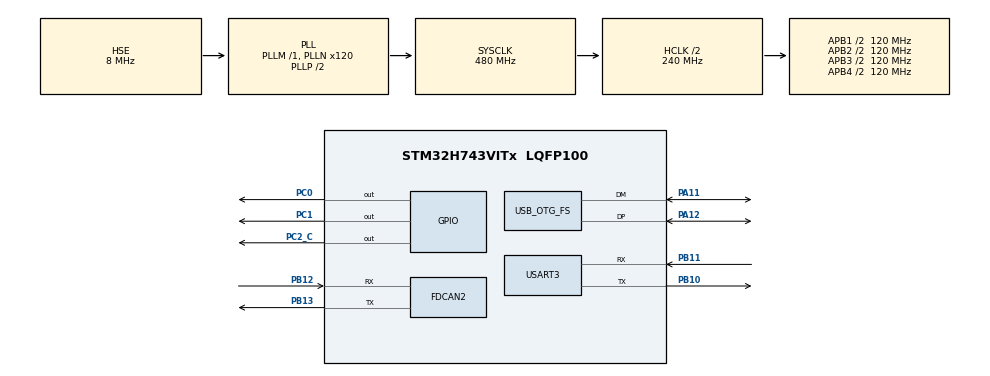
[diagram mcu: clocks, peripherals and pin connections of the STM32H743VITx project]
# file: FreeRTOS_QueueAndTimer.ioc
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FDCAN2.CalculateBaudRateNominal=800000
FDCAN2.CalculateTimeBitNominal=1250
FDCAN2.CalculateTimeQuantumNominal=250.0
Mcu.Family=STM32H7
Mcu.Name=STM32H743VITx
Mcu.Package=LQFP100
NVIC.FDCAN2_IT0_IRQn=true\:0\:0\:false\:false\:true\:true\:true\:true
NVIC.FDCAN2_IT1_IRQn=true\:0\:0\:false\:false\:true\:true\:true\:true
NVIC.PriorityGroup=NVIC_PRIORITYGROUP_4
NVIC.TIM6_DAC_IRQn=true\:15\:0\:false\:false\:true\:false\:true\:true
NVIC.TimeBase=TIM6_DAC_IRQn
NVIC.TimeBaseIP=TIM6
NVIC.USART3_IRQn=true\:6\:0\:true\:false\:true\:true\:true\:true
PA11.Mode=Host_Only
PA11.Signal=USB_OTG_FS_DM
PA12.Mode=Host_Only
PA12.Signal=USB_OTG_FS_DP
PA13\ (JTMS/SWDIO).Mode=Trace_Asynchronous_SW
PA13\ (JTMS/SWDIO).Signal=DEBUG_JTMS-SWDIO
PA14\ (JTCK/SWCLK).Mode=Trace_Asynchronous_SW
PA14\ (JTCK/SWCLK).Signal=DEBUG_JTCK-SWCLK
PB10.Mode=Asynchronous
PB10.Signal=USART3_TX
PB11.Mode=Asynchronous
PB11.Signal=USART3_RX
PB12.Mode=FDCAN_Activate
PB12.Signal=FDCAN2_RX
PB13.Mode=FDCAN_Activate
PB13.Signal=FDCAN2_TX
PB3\ (JTDO/TRACESWO).Mode=Trace_Asynchronous_SW
PB3\ (JTDO/TRACESWO).Signal=DEBUG_JTDO-SWO
PC0.Signal=GPIO_Output
PC1.Signal=GPIO_Output
PC2_C.Signal=GPIO_Output
PH0-OSC_IN\ (PH0).Mode=HSE-External-Oscillator
PH0-OSC_IN\ (PH0).Signal=RCC_OSC_IN
PH1-OSC_OUT\ (PH1).Mode=HSE-External-Oscillator
PH1-OSC_OUT\ (PH1).Signal=RCC_OSC_OUT
ProjectManager.HeapSize=0x200
ProjectManager.StackSize=0x400
ProjectManager.TargetToolchain=STM32CubeIDE
RCC.ADCFreq_Value=16125000
RCC.APB1Freq_Value=120000000
RCC.APB2Freq_Value=120000000
RCC.APB3Freq_Value=120000000
RCC.APB4Freq_Value=120000000
RCC.CortexFreq_Value=480000000
RCC.D1PPRE=RCC_APB3_DIV2
RCC.D2PPRE1=RCC_APB1_DIV2
RCC.D2PPRE2=RCC_APB2_DIV2
RCC.D3PPRE=RCC_APB4_DIV2
RCC.DIVM1=1
RCC.DIVN1=120
RCC.DIVQ1=15
RCC.HCLKFreq_Value=240000000
RCC.HPRE=RCC_HCLK_DIV2
RCC.HSE_VALUE=8000000
RCC.PLL1_VCI_Range-AdvancedSettings=RCC_PLL1VCIRANGE_0
RCC.PLL2FRACN=0
RCC.PLL2_VCI_Range-AdvancedSettings=RCC_PLL2VCIRANGE_0
RCC.PLL2_VCO_SEL-AdvancedSettings=RCC_PLL2VCOMEDIUM
RCC.PLL3FRACN=0
RCC.PLL3_VCI_Range-AdvancedSettings=RCC_PLL3VCIRANGE_0
RCC.PLL3_VCO_SEL-AdvancedSettings=RCC_PLL3VCOMEDIUM
RCC.PLLFRACN=0
RCC.PLLSourceVirtual=RCC_PLLSOURCE_HSE
RCC.SYSCLKFreq_VALUE=480000000
RCC.SYSCLKSource=RCC_SYSCLKSOURCE_PLLCLK
RCC.USBFreq_Value=64000000
RTC.HourFormat=RTC_HOURFORMAT_12
USART3.VirtualMode-Asynchronous=VM_ASYNC
USB_OTG_FS.VirtualMode=Host_Only
USB_OTG_FS.phy_itface=HCD_PHY_EMBEDDED
VP_RTC_VS_RTC_Activate.Mode=RTC_Enabled
VP_SYS_VS_tim6.Mode=TIM6
board=custom

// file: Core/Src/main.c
/* USER CODE BEGIN Header */
/**
  ******************************************************************************
  * @file           : main.c
  * @brief          : Main program body
  ******************************************************************************
  * @attention
  *
  * Copyright (c) 2022 STMicroelectronics.
  * All rights reserved.
  *
  * This software is licensed under terms that can be found in the LICENSE file
  * in the root directory of this software component.
  * If no LICENSE file comes with this software, it is provided AS-IS.
  *
  ******************************************************************************
  */
/* USER CODE END Header */
#include "main.h"

FDCAN_HandleTypeDef hfdcan2;

RTC_HandleTypeDef hrtc;

UART_HandleTypeDef huart3;

HCD_HandleTypeDef hhcd_USB_OTG_FS;

/* USER CODE BEGIN PV */
QueueHandle_t	q_Data;
QueueHandle_t	q_Print;
state_t			current_state = sMainMenu;
TaskHandle_t 	CommandHanding_Task_Handle;
TaskHandle_t 	Menu_Task_Handle;
TaskHandle_t 	LED_Task_Handle;
TaskHandle_t 	RTC_Task_Handle;
TaskHandle_t 	Print_Task_Handle;
TimerHandle_t	LED_Timer_Handle[4];
TimerHandle_t 	RTC_timer;

/* USER CODE END PV */

void SystemClock_Config(void);
static void MX_GPIO_Init(void);
static void MX_FDCAN2_Init(void);
static void MX_USB_OTG_FS_HCD_Init(void);
static void MX_RTC_Init(void);
static void MX_USART3_UART_Init(void);
/* USER CODE BEGIN PFP */
// Uncomment for using SEGGER
extern void SEGGER_UART_init(U32 baud);
void printmsg(char *format,...);
void USART_Send(char* user_data);
void Print_Task(void *param);
void RTC_Task(void *param);
void LED_Task(void *param);
void Menu_Task(void *param);
void CommandHanding_Task(void *param);
void LED_Effect_Callback(TimerHandle_t	xTimer);
void RTC_Report_Callback(TimerHandle_t	xTimer);
/* USER CODE END PFP */

/* USER CODE BEGIN 0 */
char user_msg[250];
char *user_data = "";
volatile uint8_t User_Input;

#ifdef USE_SEMIHOSTING
extern void initialise_monitor_handles(void);
#endif
/* USER CODE END 0 */

int main(void)
{
  /* USER CODE BEGIN 1 */

	BaseType_t 		TaskStatus;

  /* USER CODE END 1 */

  /* MCU Configuration--------------------------------------------------------*/

  /* Reset of all peripherals, Initializes the Flash interface and the Systick. */
  HAL_Init();

  /* Configure the system clock */
  SystemClock_Config();

  /* Initialize all configured peripherals */
  MX_GPIO_Init();
  MX_FDCAN2_Init();
  MX_USB_OTG_FS_HCD_Init();
  MX_RTC_Init();
  MX_USART3_UART_Init();
  /* USER CODE BEGIN 2 */
  // Start LED
    int Start_Counter = 0;
    while(Start_Counter < 5)
    {
  	  HAL_GPIO_TogglePin(GPIOC, LED_Blue_PIN);
  	  HAL_Delay(200);
  	  HAL_GPIO_TogglePin(GPIOC, LED_Blue_PIN);
  	  HAL_Delay(200);
  	  Start_Counter++;
    }

    //user_data = "Start of program\r\n";
    	//HAL_UART_Transmit(&huart2,(uint8_t*)user_data,strlen(user_data), HAL_MAX_DELAY);

    	// Enable CCYCCNT Counter for SEGGER SYSTEM VIEW
    	DWT->CTRL |= (1 << 0);

    	// Used for SEGGER UART
    	SEGGER_UART_init(500000);

    	//Starting SEGGER SYSVIEW
		SEGGER_SYSVIEW_Conf();
    	  //SEGGER_SYSVIEW_Start();

		TaskStatus = xTaskCreate(Menu_Task, "Menu-Task", 250, "Menu-Task", 2, &Menu_Task_Handle);
		configASSERT(TaskStatus == pdPASS);

		TaskStatus = xTaskCreate(LED_Task, "LED-Task", 250, "LED-Task", 2, &LED_Task_Handle);
		configASSERT(TaskStatus == pdPASS);

		TaskStatus = xTaskCreate(RTC_Task, "RTC_Task", 250, "RTC_Task", 2, &RTC_Task_Handle);
		configASSERT(TaskStatus == pdPASS);

		TaskStatus = xTaskCreate(Print_Task, "Print-Task", 250, "Print-Task", 2, &Print_Task_Handle);
		configASSERT(TaskStatus == pdPASS);

		TaskStatus = xTaskCreate(CommandHanding_Task, "CommandHanding-Task", 250, "CommandHanding-Task", 2, &CommandHanding_Task_Handle);
		configASSERT(TaskStatus == pdPASS);

		q_Data = xQueueCreate(10, sizeof(char));
		// Bellow line will make code to hang if queue is full
		configASSERT(q_Data != NULL);

		q_Print = xQueueCreate(10, sizeof(size_t));
		configASSERT(q_Print != NULL);

		// Create SW timers for LED effects
		for(int i=0; i<4; i++)
			LED_Timer_Handle[i] = xTimerCreate("LED timer", pdMS_TO_TICKS(500), pdTRUE, (void*)(i+1), LED_Effect_Callback);

		RTC_timer = xTimerCreate ("rtc_report_timer",pdMS_TO_TICKS(1000),pdTRUE,NULL,RTC_Report_Callback);

		// Enabling UART reception
		HAL_UART_Receive_IT(&huart3, (uint8_t*)&User_Input, 1);

		vTaskStartScheduler();

  /* USER CODE END 2 */

  /* Infinite loop */
  while (1)
  {

  }
}

void SystemClock_Config(void)
{
  RCC_OscInitTypeDef RCC_OscInitStruct = {0};
  RCC_ClkInitTypeDef RCC_ClkInitStruct = {0};

  /** Supply configuration update enable
  */
  HAL_PWREx_ConfigSupply(PWR_LDO_SUPPLY);

  /** Configure the main internal regulator output voltage
  */
  __HAL_PWR_VOLTAGESCALING_CONFIG(PWR_REGULATOR_VOLTAGE_SCALE1);

  while(!__HAL_PWR_GET_FLAG(PWR_FLAG_VOSRDY)) {}

  __HAL_RCC_SYSCFG_CLK_ENABLE();
  __HAL_PWR_VOLTAGESCALING_CONFIG(PWR_REGULATOR_VOLTAGE_SCALE0);

  while(!__HAL_PWR_GET_FLAG(PWR_FLAG_VOSRDY)) {}

  /** Initializes the RCC Oscillators according to the specified parameters
  * in the RCC_OscInitTypeDef structure.
  */
  RCC_OscInitStruct.OscillatorType = RCC_OSCILLATORTYPE_LSI|RCC_OSCILLATORTYPE_HSE;
  RCC_OscInitStruct.HSEState = RCC_HSE_ON;
  RCC_OscInitStruct.LSIState = RCC_LSI_ON;
  RCC_OscInitStruct.PLL.PLLState = RCC_PLL_ON;
  RCC_OscInitStruct.PLL.PLLSource = RCC_PLLSOURCE_HSE;
  RCC_OscInitStruct.PLL.PLLM = 1;
  RCC_OscInitStruct.PLL.PLLN = 120;
  RCC_OscInitStruct.PLL.PLLP = 2;
  RCC_OscInitStruct.PLL.PLLQ = 15;
  RCC_OscInitStruct.PLL.PLLR = 2;
  RCC_OscInitStruct.PLL.PLLRGE = RCC_PLL1VCIRANGE_3;
  RCC_OscInitStruct.PLL.PLLVCOSEL = RCC_PLL1VCOWIDE;
  RCC_OscInitStruct.PLL.PLLFRACN = 0;
  if (HAL_RCC_OscConfig(&RCC_OscInitStruct) != HAL_OK)
  {
    Error_Handler();
  }

  /** Initializes the CPU, AHB and APB buses clocks
  */
  RCC_ClkInitStruct.ClockType = RCC_CLOCKTYPE_HCLK|RCC_CLOCKTYPE_SYSCLK
                              |RCC_CLOCKTYPE_PCLK1|RCC_CLOCKTYPE_PCLK2
                              |RCC_CLOCKTYPE_D3PCLK1|RCC_CLOCKTYPE_D1PCLK1;
  RCC_ClkInitStruct.SYSCLKSource = RCC_SYSCLKSOURCE_PLLCLK;
  RCC_ClkInitStruct.SYSCLKDivider = RCC_SYSCLK_DIV1;
  RCC_ClkInitStruct.AHBCLKDivider = RCC_HCLK_DIV2;
  RCC_ClkInitStruct.APB3CLKDivider = RCC_APB3_DIV2;
  RCC_ClkInitStruct.APB1CLKDivider = RCC_APB1_DIV2;
  RCC_ClkInitStruct.APB2CLKDivider = RCC_APB2_DIV2;
  RCC_ClkInitStruct.APB4CLKDivider = RCC_APB4_DIV2;

  if (HAL_RCC_ClockConfig(&RCC_ClkInitStruct, FLASH_LATENCY_4) != HAL_OK)
  {
    Error_Handler();
  }
}

static void MX_FDCAN2_Init(void)
{

  hfdcan2.Instance = FDCAN2;
  hfdcan2.Init.FrameFormat = FDCAN_FRAME_CLASSIC;
  hfdcan2.Init.Mode = FDCAN_MODE_NORMAL;
  hfdcan2.Init.AutoRetransmission = DISABLE;
  hfdcan2.Init.TransmitPause = DISABLE;
  hfdcan2.Init.ProtocolException = DISABLE;
  hfdcan2.Init.NominalPrescaler = 16;
  hfdcan2.Init.NominalSyncJumpWidth = 1;
  hfdcan2.Init.NominalTimeSeg1 = 2;
  hfdcan2.Init.NominalTimeSeg2 = 2;
  hfdcan2.Init.DataPrescaler = 1;
  hfdcan2.Init.DataSyncJumpWidth = 1;
  hfdcan2.Init.DataTimeSeg1 = 1;
  hfdcan2.Init.DataTimeSeg2 = 1;
  hfdcan2.Init.MessageRAMOffset = 0;
  hfdcan2.Init.StdFiltersNbr = 0;
  hfdcan2.Init.ExtFiltersNbr = 0;
  hfdcan2.Init.RxFifo0ElmtsNbr = 0;
  hfdcan2.Init.RxFifo0ElmtSize = FDCAN_DATA_BYTES_8;
  hfdcan2.Init.RxFifo1ElmtsNbr = 0;
  hfdcan2.Init.RxFifo1ElmtSize = FDCAN_DATA_BYTES_8;
  hfdcan2.Init.RxBuffersNbr = 0;
  hfdcan2.Init.RxBufferSize = FDCAN_DATA_BYTES_8;
  hfdcan2.Init.TxEventsNbr = 0;
  hfdcan2.Init.TxBuffersNbr = 0;
  hfdcan2.Init.TxFifoQueueElmtsNbr = 0;
  hfdcan2.Init.TxFifoQueueMode = FDCAN_TX_FIFO_OPERATION;
  hfdcan2.Init.TxElmtSize = FDCAN_DATA_BYTES_8;
  if (HAL_FDCAN_Init(&hfdcan2) != HAL_OK)
  {
    Error_Handler();
  }

}

static void MX_RTC_Init(void)
{

  /** Initialize RTC Only
  */
  hrtc.Instance = RTC;
  hrtc.Init.HourFormat = RTC_HOURFORMAT_12;
  hrtc.Init.AsynchPrediv = 127;
  hrtc.Init.SynchPrediv = 255;
  hrtc.Init.OutPut = RTC_OUTPUT_DISABLE;
  hrtc.Init.OutPutPolarity = RTC_OUTPUT_POLARITY_HIGH;
  hrtc.Init.OutPutType = RTC_OUTPUT_TYPE_OPENDRAIN;
  hrtc.Init.OutPutRemap = RTC_OUTPUT_REMAP_NONE;
  if (HAL_RTC_Init(&hrtc) != HAL_OK)
  {
    Error_Handler();
  }

}

static void MX_USART3_UART_Init(void)
{

  huart3.Instance = USART3;
  huart3.Init.BaudRate = 115200;
  huart3.Init.WordLength = UART_WORDLENGTH_8B;
  huart3.Init.StopBits = UART_STOPBITS_1;
  huart3.Init.Parity = UART_PARITY_NONE;
  huart3.Init.Mode = UART_MODE_TX_RX;
  huart3.Init.HwFlowCtl = UART_HWCONTROL_NONE;
  huart3.Init.OverSampling = UART_OVERSAMPLING_16;
  huart3.Init.OneBitSampling = UART_ONE_BIT_SAMPLE_DISABLE;
  huart3.Init.ClockPrescaler = UART_PRESCALER_DIV1;
  huart3.AdvancedInit.AdvFeatureInit = UART_ADVFEATURE_NO_INIT;
  if (HAL_UART_Init(&huart3) != HAL_OK)
  {
    Error_Handler();
  }
  if (HAL_UARTEx_SetTxFifoThreshold(&huart3, UART_TXFIFO_THRESHOLD_1_8) != HAL_OK)
  {
    Error_Handler();
  }
  if (HAL_UARTEx_SetRxFifoThreshold(&huart3, UART_RXFIFO_THRESHOLD_1_8) != HAL_OK)
  {
    Error_Handler();
  }
  if (HAL_UARTEx_DisableFifoMode(&huart3) != HAL_OK)
  {
    Error_Handler();
  }

}

static void MX_USB_OTG_FS_HCD_Init(void)
{

  hhcd_USB_OTG_FS.Instance = USB_OTG_FS;
  hhcd_USB_OTG_FS.Init.Host_channels = 16;
  hhcd_USB_OTG_FS.Init.speed = HCD_SPEED_FULL;
  hhcd_USB_OTG_FS.Init.dma_enable = DISABLE;
  hhcd_USB_OTG_FS.Init.phy_itface = HCD_PHY_EMBEDDED;
  hhcd_USB_OTG_FS.Init.Sof_enable = DISABLE;
  if (HAL_HCD_Init(&hhcd_USB_OTG_FS) != HAL_OK)
  {
    Error_Handler();
  }

}

static void MX_GPIO_Init(void)
{
  GPIO_InitTypeDef GPIO_InitStruct = {0};

  /* GPIO Ports Clock Enable */
  __HAL_RCC_GPIOH_CLK_ENABLE();
  __HAL_RCC_GPIOC_CLK_ENABLE();
  __HAL_RCC_GPIOB_CLK_ENABLE();
  __HAL_RCC_GPIOA_CLK_ENABLE();

  /*Configure GPIO pin Output Level */
  HAL_GPIO_WritePin(GPIOC, GPIO_PIN_0|GPIO_PIN_1|GPIO_PIN_2, GPIO_PIN_SET);

  /*Configure GPIO pins : PC0 PC1 PC2 */
  GPIO_InitStruct.Pin = GPIO_PIN_0|GPIO_PIN_1|GPIO_PIN_2;
  GPIO_InitStruct.Mode = GPIO_MODE_OUTPUT_PP;
  GPIO_InitStruct.Pull = GPIO_NOPULL;
  GPIO_InitStruct.Speed = GPIO_SPEED_FREQ_LOW;
  HAL_GPIO_Init(GPIOC, &GPIO_InitStruct);

}

/* USER CODE BEGIN 4 */

/**
  * @brief  Rx Transfer completed callback.
  * @param  huart UART handle.
  * @retval None
  */
void HAL_UART_RxCpltCallback(UART_HandleTypeDef *huart)
{
	uint8_t Dummy_Data;
	for(uint32_t i=0; i<4000;i++);
	if(! xQueueIsQueueFullFromISR(q_Data))
	{
		// Enqueue data
		xQueueSendFromISR(q_Data, (void*)&User_Input, NULL);
	}
	else
	{
		if(User_Input == '\n')
		{
			// Make sure that last data byte of the queue is '\n'
			xQueueReceiveFromISR(q_Data, (void*)&Dummy_Data, NULL);
			xQueueSendFromISR(q_Data, (void*)&User_Input, NULL);
		}
	}

	// Send notification to command handling task if User_Input == '\n'
	if(User_Input == '\n')
	{
		// Send notification to command handling task
		xTaskNotifyFromISR(CommandHanding_Task_Handle, 0, eNoAction, NULL);
	}

	// Enable UART data byte reception again in IT mode
	HAL_UART_Receive_IT(&huart3, (uint8_t*)&User_Input, 1);
}

void LED_Effect_Callback(TimerHandle_t	xTimer)
{
	int Timer_id;
	Timer_id = (uint32_t) pvTimerGetTimerID(xTimer);

	switch(Timer_id)
	{
	case 1:
		LED_effect1();
		break;
	case 2:
		LED_effect2();
		break;
	case 3:
		LED_effect3();
		break;
	case 4:
		LED_effect4();
	}
}

void RTC_Report_Callback(TimerHandle_t	xTimer)
{
	show_time_date_itm();
}

//void printmsg(char *format,...)
// {
//
//	char str[80];
//
//	/*Extract the the argument list using VA apis */
//	va_list args;
//	va_start(args, format);
//	vsprintf(str, format,args);
//	HAL_UART_Transmit(&huart2,(uint8_t *)str, strlen(str),HAL_MAX_DELAY);
//	va_end(args);
//
// }

//void USART_Send(char* user_data)
//{
//	if (HAL_UART_Transmit(&huart2,(uint8_t*)user_data,strlen(user_data), HAL_MAX_DELAY) != HAL_OK)
//	{
//		// Error occurred
//		Error_Handler();
//	}
//}

/* USER CODE END 4 */

void HAL_TIM_PeriodElapsedCallback(TIM_HandleTypeDef *htim)
{
  if (htim->Instance == TIM6) {
    HAL_IncTick();
  }
}

void Error_Handler(void)
{
  /* USER CODE BEGIN Error_Handler_Debug */
  /* User can add his own implementation to report the HAL error return state */
  __disable_irq();
  while (1)
  {
		HAL_GPIO_TogglePin(GPIOC, LED_Red_PIN);
		HAL_Delay(100);
		HAL_GPIO_TogglePin(GPIOC, LED_Red_PIN);
		HAL_Delay(100);
  }
  /* USER CODE END Error_Handler_Debug */
}
